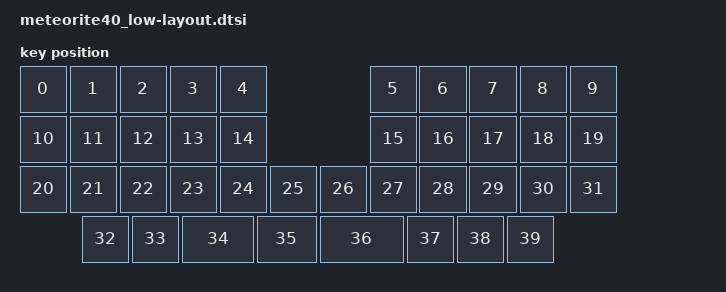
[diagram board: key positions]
#include <physical_layouts.dtsi>

/ {
    LOW_PROFILE_DEFAULT: low_profile_default {
        compatible = "zmk,physical-layout";
        display-name = "default";

        keys //                  w    h   x     y  rot rx ry 
            = 
            // 1段目 左5
            <&key_physical_attrs 100 100    0    0  0  0  0>,
            <&key_physical_attrs 100 100  100    0  0  0  0>,
            <&key_physical_attrs 100 100  200    0  0  0  0>,
            <&key_physical_attrs 100 100  300    0  0  0  0>,
            <&key_physical_attrs 100 100  400    0  0  0  0>,
            // 1段目 右5
            <&key_physical_attrs 100 100  700    0  0  0  0>,
            <&key_physical_attrs 100 100  800    0  0  0  0>,
            <&key_physical_attrs 100 100  900    0  0  0  0>,
            <&key_physical_attrs 100 100 1000    0  0  0  0>,
            <&key_physical_attrs 100 100 1100    0  0  0  0>,

            // 2段目 左5
            <&key_physical_attrs 100 100    0  100  0  0  0>,
            <&key_physical_attrs 100 100  100  100  0  0  0>,
            <&key_physical_attrs 100 100  200  100  0  0  0>,
            <&key_physical_attrs 100 100  300  100  0  0  0>,
            <&key_physical_attrs 100 100  400  100  0  0  0>,
            // 2段目 右5
            <&key_physical_attrs 100 100  700  100  0  0  0>,
            <&key_physical_attrs 100 100  800  100  0  0  0>,
            <&key_physical_attrs 100 100  900  100  0  0  0>,
            <&key_physical_attrs 100 100 1000  100  0  0  0>,
            <&key_physical_attrs 100 100 1100  100  0  0  0>,

            // 3段目 中央12
            <&key_physical_attrs 100 100    0  200  0  0  0>,
            <&key_physical_attrs 100 100  100  200  0  0  0>,
            <&key_physical_attrs 100 100  200  200  0  0  0>,
            <&key_physical_attrs 100 100  300  200  0  0  0>,
            <&key_physical_attrs 100 100  400  200  0  0  0>,
            <&key_physical_attrs 100 100  500  200  0  0  0>,
            <&key_physical_attrs 100 100  600  200  0  0  0>,
            <&key_physical_attrs 100 100  700  200  0  0  0>,
            <&key_physical_attrs 100 100  800  200  0  0  0>,
            <&key_physical_attrs 100 100  900  200  0  0  0>,
            <&key_physical_attrs 100 100 1000  200  0  0  0>,
            <&key_physical_attrs 100 100 1100  200  0  0  0>,

            // 4段目
            <&key_physical_attrs 100 100  125  300  0  0  0>,
            <&key_physical_attrs 100 100  225  300  0  0  0>,
            <&key_physical_attrs 150 100  325  300  0  0  0>,
            <&key_physical_attrs 125 100  475  300  0  0  0>,
            <&key_physical_attrs 175 100  600  300  0  0  0>,
            <&key_physical_attrs 100 100  775  300  0  0  0>,
            <&key_physical_attrs 100 100  875  300  0  0  0>,
            <&key_physical_attrs 100 100  975  300  0  0  0>
        ;
    };
};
